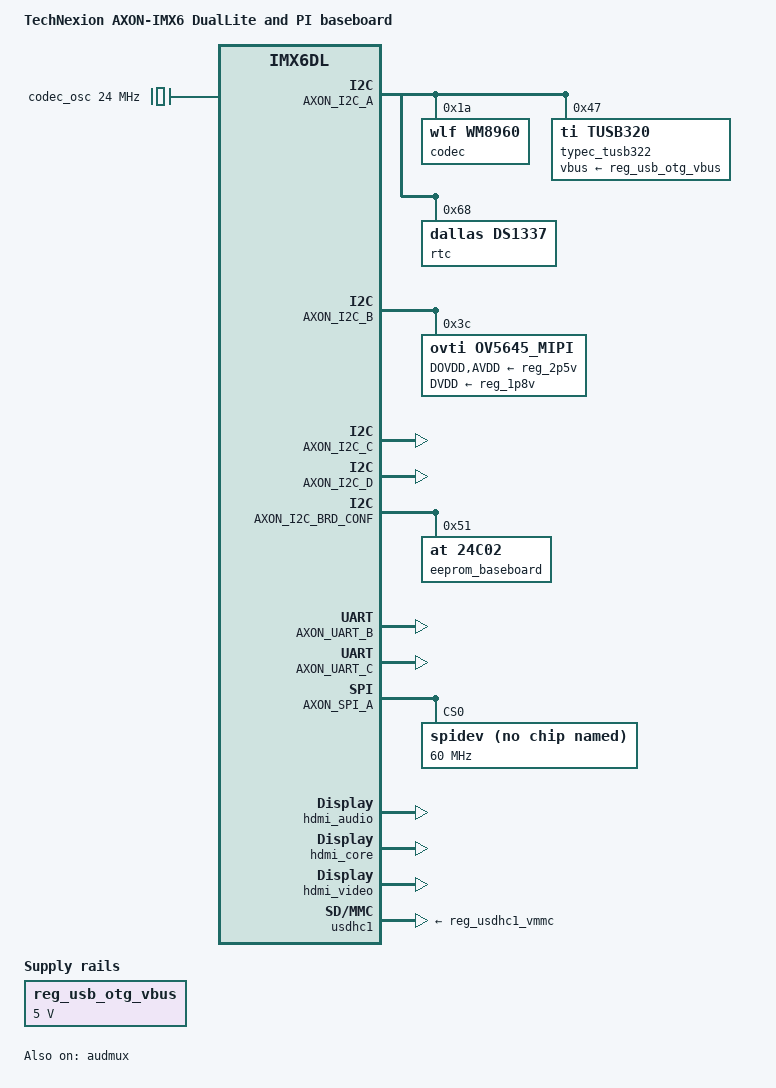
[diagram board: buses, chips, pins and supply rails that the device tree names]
/*
 * Copyright 2019 Technexion Ltd.
 *
 * Author: Tapani Utriainen <tapani@technexion.com>
 *         Richard Hu <richard.hu@technexion.com>
 *         John Weber <john.weber@technexion.com>
 *
 * This program is free software; you can redistribute it and/or modify
 * it under the terms of the GNU General Public License version 2 as
 * published by the Free Software Foundation.
 *
 */
 /dts-v1/;

#include "imx6dl.dtsi"
#include "imx6qdl-axon.dtsi"
#include <dt-bindings/sound/fsl-imx-audmux.h>
#include "tnmacro.h"

/ {

	model = "TechNexion AXON-IMX6 DualLite and PI baseboard";
	compatible = "fsl,axon-imx6dl", "fsl,imx6dl";

	aliases {
		i2c0 = &AXON_I2C_A;
		i2c1 = &AXON_I2C_B;
		i2c2 = &AXON_I2C_C;
		i2c3 = &AXON_I2C_D;
		i2c4 = &AXON_I2C_BRD_CONF;
		uart0 = &AXON_UART_A;
		uart1 = &AXON_UART_B;
		uart3 = &AXON_UART_C;
		uart4 = &AXON_UART_BT;
    };

	regulators {

		reg_usb_otg_vbus: usb_otg_vbus {
			pinctrl-names = "default";
			pinctrl-0 = <&pinctrl_otg_vbus>;
			compatible = "regulator-fixed";
			regulator-name = "usb_otg_vbus";
			regulator-min-microvolt = <5000000>;
			regulator-max-microvolt = <5000000>;
			gpio = <AXON_EXT_GPIO_X1_P66 GPIO_ACTIVE_LOW>;
			enable-active-low;
		};
	};

	sound-hdmi {
		status = "disabled";
	};

	backlight_lvds {
		status = "disabled";
	};

	sound: sound {
		compatible = "simple-audio-card";
		simple-audio-card,name = "axon-pi-wm8960-audio";
		simple-audio-card,format = "i2s";
		simple-audio-card,bitclock-master = <&dailink_master>;
		simple-audio-card,frame-master = <&dailink_master>;
		simple-audio-card,widgets =
			"Microphone", "Mic Jack",
			"Speaker", "Speaker",
			"Headphone", "Headphone Jack";
		simple-audio-card,routing =
			"Headphone Jack", "HP_L",
			"Headphone Jack", "HP_R",
			"Speaker", "SPK_LP",
			"Speaker", "SPK_LN",
			"Speaker", "SPK_RP",
			"Speaker", "SPK_RN",
			"LINPUT1", "Mic Jack";
		simple-audio-card,cpu {
			sound-dai = <&AXON_AUD_A_I2S_CHANNEL>;
		};

		dailink_master: simple-audio-card,codec {
			sound-dai = <&codec>;
			clocks = <&codec_osc>;
		};
	};

	clocks {
		codec_osc: aud_mclk {  /* Note - on AXON pi rev 0.1 MCLK comes from external osc */
			compatible = "fixed-clock";
			#clock-cells = <0>;
			clock-frequency = <24000000>;
			clock-output-names = "wm8960-mclk";
		};
	};

	/* Turn off LCD interface as we do not support this on Axon-Pi */
	lcd@0 {
        	status = "disabled";
	};
};

&iomuxc {
	imx6qdl-axon {

		pinctrl_otg_vbus: otgvbusgrp {
			fsl,pins = <
				MX6QDL_PAD_EIM_A24__GPIO5_IO04	    0x4001b0b5  /* GPIO_X1_P66 */
			>;
		};
	};
};

&audmux {
	status = "okay";

	/* Source port */
	ssi1 {
		fsl,audmux-port = <0>;
		fsl,port-config = <
			(IMX_AUDMUX_V2_PTCR_TFSDIR |
			IMX_AUDMUX_V2_PTCR_TFSEL(2) |
			IMX_AUDMUX_V2_PTCR_TCLKDIR |
			IMX_AUDMUX_V2_PTCR_TCSEL(2) |
			IMX_AUDMUX_V2_PTCR_SYN)
			IMX_AUDMUX_V2_PDCR_RXDSEL(2)
		>;
	};

	/* External port */
	pins3 {
		fsl,audmux-port = <2>;
		fsl,port-config = <
			IMX_AUDMUX_V2_PTCR_SYN
			IMX_AUDMUX_V2_PDCR_RXDSEL(0)
        >;
	};
};

&AXON_I2C_A {
	status = "okay";

	codec: wm8960@1a {
		compatible = "wlf,wm8960";
		reg = <0x1a>;
		#sound-dai-cells = <0>;
		clocks = <&codec_osc>;  /* Note:  AXON-PI the clock is external osc */
		clock-names = "mclk";
		wlf,shared-lrclk;
		wlf,fixed-mclk;
	};

	typec_tusb322:tusb320@47 {
		compatible = "ti,tusb320";
		pinctrl-names = "default";
		pinctrl-0 = <&pinctrl_gpio_x2_p32>;
		reg = <0x47>;
		vbus-supply = <&reg_usb_otg_vbus>;
		tusb320,int-gpio = <AXON_EXT_GPIO_X2_P32 GPIO_ACTIVE_LOW>;
		tusb320,select-mode = <0>;
		tusb320,dfp-power = <0>;
	};

	rtc: ds1337 {
		compatible = "dallas,ds1337";
		reg = <0x68>;
	};
};

&AXON_I2C_B {
  status = "okay";
	ov5645_mipi: ov5645_mipi@3c {
		compatible = "ovti,ov5645_mipi";
		pinctrl-names = "default";
		pinctrl-0 = <&pinctrl_mipi_csi>;
		reg = <0x3c>;
		clocks = <&clks IMX6QDL_CLK_CKO2>;
		clock-names = "csi_mclk";
//		assigned-clocks = <&clks IMX6QDL_CLK_CKO2>;
//		assigned-clock-parents = <&clks IMX8MQ_SYS2_PLL_200M>;
//		assigned-clock-rates = <24000000>;
		DOVDD-supply = <&reg_2p5v>;
		AVDD-supply = <&reg_2p5v>;
		DVDD-supply = <&reg_1p8v>;
		pwn-gpios = <AXON_EXT_GPIO_X3_P67 GPIO_ACTIVE_HIGH>;
		rst-gpios = <AXON_EXT_GPIO_X3_P65 GPIO_ACTIVE_LOW>;
		ipu_id = <0>;
		csi_id = <0>;
		mclk = <24000000>;
		mclk_source = <0>;
	};
};

&AXON_I2C_C {
	status = "okay";
};

&AXON_I2C_D {
	status = "okay";
};

&axonfabric {
//                                0    1    2    3    4    5    6    7    8    9   10   11   12
	iob-enable =      /bits/ 8 <0xFF 0xFF 0x00 0xFC 0x1F 0x00 0x00 0xF0 0xF0 0x7E 0x1E 0x0F 0x0F>;
	iob-pushpull =    /bits/ 8 <0xFF 0xF6 0x00 0xFF 0x07 0x00 0x00 0xF0 0xFF 0x7F 0x1F 0xFF 0x0F>;
	iob-direction =   /bits/ 8 <0xFA 0x02 0x00 0x03 0x18 0x00 0x00 0xEC 0xE6 0x01 0x01 0x06 0x0E>;
	iob-selection-0 = /bits/ 8 <0x00 0x80 0x00 0xFF 0x10 0xFF 0x1F 0x00 0x00 0x00 0x00 0xF0 0x00>;
	iob-selection-1 = /bits/ 8 <0x00 0x00 0x00 0xFF 0x10 0xFF 0x1F 0x00 0x00 0x00 0x00 0xF0 0x00>;
};

&AXON_I2C_BRD_CONF {
	status = "okay";

	eeprom_baseboard: eeprom@51 {
		compatible = "at,24c02";
		reg = <0x51>;
	};
};

&AXON_UART_B {
	status = "okay";
};

&AXON_UART_C {
	pinctrl-0 = <&pinctrl_axon_uart_c_rtscts>;
	fsl,uart-has-rtscts;
	status = "okay";
};

&AXON_CAN_A {
	status = "disabled";
};

&AXON_CAN_B {
	status = "disabled";
};

&AXON_SPI_A {
	status = "okay";

	spidev@1 {
		compatible = "rohm,dh2228fv";
		spi-max-frequency = <60000000>;
		reg = <0>;
	};
};

&ldb {
	status = "disabled";
};

&hdmi_audio {
	status = "okay";
};

&hdmi_core {
	status = "okay";
};

&hdmi_video {
	status = "okay";
};

/* Baseboard microSD slot */
&reg_usdhc1_vmmc {
	status = "okay";
};

&usdhc1 {
	vmmc-supply = <&reg_usdhc1_vmmc>;
	status = "okay";
};

&pcie {
	status = "disabled";
};

